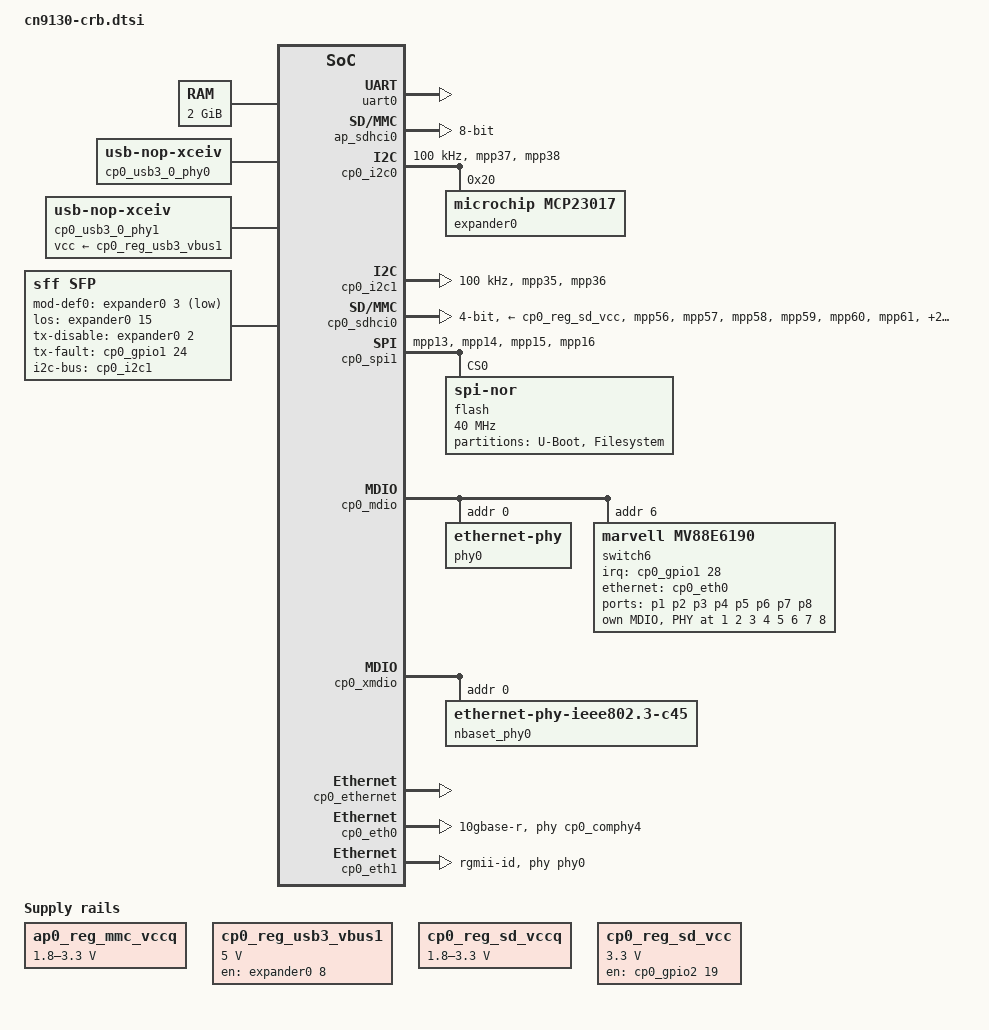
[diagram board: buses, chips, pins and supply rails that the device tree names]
// SPDX-License-Identifier: GPL-2.0+
/*
 * Copyright (C) 2020 Marvell International Ltd.
 */

#include "cn9130.dtsi" /* include SoC device tree */

#include <dt-bindings/gpio/gpio.h>

/ {
	chosen {
		stdout-path = "serial0:115200n8";
	};

	aliases {
		i2c0 = &cp0_i2c0;
		ethernet0 = &cp0_eth0;
		ethernet1 = &cp0_eth1;
		ethernet2 = &cp0_eth2;
		gpio1 = &cp0_gpio1;
		gpio2 = &cp0_gpio2;
	};

	memory@0 {
		device_type = "memory";
		reg = <0x0 0x0 0x0 0x80000000>;
	};

	ap0_reg_mmc_vccq: ap0_mmc_vccq@0 {
		compatible = "regulator-gpio";
		regulator-name = "ap0_mmc_vccq";
		regulator-min-microvolt = <1800000>;
		regulator-max-microvolt = <3300000>;
		gpios = <&expander0 5 GPIO_ACTIVE_HIGH>;
		states = <1800000 0x1
			  3300000 0x0>;
	};

	cp0_reg_usb3_vbus1: cp0_usb3_vbus@1 {
		compatible = "regulator-fixed";
		regulator-name = "cp0-xhci1-vbus";
		regulator-min-microvolt = <5000000>;
		regulator-max-microvolt = <5000000>;
		enable-active-high;
		gpio = <&expander0 8 GPIO_ACTIVE_HIGH>;
	};

	cp0_usb3_0_phy0: cp0_usb3_phy0 {
		compatible = "usb-nop-xceiv";
	};

	cp0_usb3_0_phy1: cp0_usb3_phy1 {
		compatible = "usb-nop-xceiv";
		vcc-supply = <&cp0_reg_usb3_vbus1>;
	};

	cp0_reg_sd_vccq: cp0_sd_vccq@0 {
		compatible = "regulator-gpio";
		regulator-name = "cp0_sd_vccq";
		regulator-min-microvolt = <1800000>;
		regulator-max-microvolt = <3300000>;
		gpios = <&cp0_gpio2 18 GPIO_ACTIVE_HIGH>;
		states = <1800000 0x1
			  3300000 0x0>;
	};

	cp0_reg_sd_vcc: cp0_sd_vcc@0 {
		compatible = "regulator-fixed";
		regulator-name = "cp0_sd_vcc";
		regulator-min-microvolt = <3300000>;
		regulator-max-microvolt = <3300000>;
		gpio = <&cp0_gpio2 19 GPIO_ACTIVE_HIGH>;
		enable-active-high;
		regulator-always-on;
	};

	sfp: sfp {
		compatible = "sff,sfp";
		i2c-bus = <&cp0_i2c1>;
		mod-def0-gpios = <&expander0 3 GPIO_ACTIVE_LOW>;
		los-gpios = <&expander0 15 GPIO_ACTIVE_HIGH>;
		tx-disable-gpios = <&expander0 2 GPIO_ACTIVE_HIGH>;
		tx-fault-gpios = <&cp0_gpio1 24 GPIO_ACTIVE_HIGH>;
		maximum-power-milliwatt = <3000>;
		status = "okay";
	};
};

&uart0 {
	status = "okay";
};

/* on-board eMMC U6 */
&ap_sdhci0 {
	pinctrl-names = "default";
	bus-width = <8>;
	status = "okay";
	mmc-ddr-1_8v;
	vqmmc-supply = <&ap0_reg_mmc_vccq>;
};

&cp0_syscon0 {
	cp0_pinctrl: pinctrl {
		compatible = "marvell,cp115-standalone-pinctrl";

		cp0_i2c0_pins: cp0-i2c-pins-0 {
			marvell,pins = "mpp37", "mpp38";
			marvell,function = "i2c0";
		};
		cp0_i2c1_pins: cp0-i2c-pins-1 {
			marvell,pins = "mpp35", "mpp36";
			marvell,function = "i2c1";
		};
		cp0_sdhci_cd_pins_crb: cp0-sdhci-cd-pins-crb {
			marvell,pins = "mpp55";
			marvell,function = "gpio";
		};
		cp0_sdhci_pins: cp0-sdhi-pins-0 {
			marvell,pins = "mpp56", "mpp57", "mpp58",
				       "mpp59", "mpp60", "mpp61";
			marvell,function = "sdio";
		};
		cp0_spi1_pins: cp0-spi-pins-1 {
			marvell,pins = "mpp13", "mpp14", "mpp15", "mpp16";
			marvell,function = "spi1";
		};
	};
};

&cp0_gpio1 {
	status = "okay";
};

&cp0_gpio2 {
	status = "okay";
};

&cp0_i2c0 {
	pinctrl-names = "default";
	pinctrl-0 = <&cp0_i2c0_pins>;
	status = "okay";
	clock-frequency = <100000>;
	expander0: mcp23x17@20 {
		compatible = "microchip,mcp23017";
		gpio-controller;
		#gpio-cells = <2>;
		reg = <0x20>;
		status = "okay";
	};
};

&cp0_i2c1 {
	pinctrl-names = "default";
	pinctrl-0 = <&cp0_i2c1_pins>;
	clock-frequency = <100000>;
	status = "okay";
};


&cp0_sdhci0 {
	pinctrl-names = "default";
	pinctrl-0 = <&cp0_sdhci_pins
		     &cp0_sdhci_cd_pins_crb>;
	bus-width = <4>;
	cd-gpios = <&cp0_gpio2 23 GPIO_ACTIVE_HIGH>;
	vqmmc-supply = <&cp0_reg_sd_vccq>;
	vmmc-supply = <&cp0_reg_sd_vcc>;
	status = "okay";
};

&cp0_spi1 {
	pinctrl-names = "default";
	pinctrl-0 = <&cp0_spi1_pins>;
	reg = <0x700680 0x50>,		/* control */
	      <0x2000000 0x1000000>;	/* CS0 */
	status = "okay";

	flash@0 {
		#address-cells = <0x1>;
		#size-cells = <0x1>;
		compatible = "jedec,spi-nor";
		reg = <0x0>;
		/* On-board MUX does not allow higher frequencies */
		spi-max-frequency = <40000000>;

		partitions {
			compatible = "fixed-partitions";
			#address-cells = <1>;
			#size-cells = <1>;

			partition@0 {
				label = "U-Boot";
				reg = <0x0 0x200000>;
			};

			partition@400000 {
				label = "Filesystem";
				reg = <0x200000 0xe00000>;
			};
		};
	};
};

&cp0_mdio {
	status = "okay";
	phy0: ethernet-phy@0 {
		reg = <0>;
	};

	switch6: switch0@6 {
		/* Actual device is MV88E6393X */
		compatible = "marvell,mv88e6190";
		#address-cells = <1>;
		#size-cells = <0>;
		reg = <6>;
		interrupt-parent = <&cp0_gpio1>;
		interrupts = <28 IRQ_TYPE_LEVEL_LOW>;
		interrupt-controller;
		#interrupt-cells = <2>;

		dsa,member = <0 0>;

		ports {
			#address-cells = <1>;
			#size-cells = <0>;

			port@1 {
				reg = <1>;
				label = "p1";
				phy-handle = <&switch0phy1>;
			};

			port@2 {
				reg = <2>;
				label = "p2";
				phy-handle = <&switch0phy2>;
			};

			port@3 {
				reg = <3>;
				label = "p3";
				phy-handle = <&switch0phy3>;
			};

			port@4 {
				reg = <4>;
				label = "p4";
				phy-handle = <&switch0phy4>;
			};

			port@5 {
				reg = <5>;
				label = "p5";
				phy-handle = <&switch0phy5>;
			};

			port@6 {
				reg = <6>;
				label = "p6";
				phy-handle = <&switch0phy6>;
			};

			port@7 {
				reg = <7>;
				label = "p7";
				phy-handle = <&switch0phy7>;
			};

			port@8 {
				reg = <8>;
				label = "p8";
				phy-handle = <&switch0phy8>;
			};

			port@9 {
				reg = <9>;
				label = "p9";
				phy-mode = "10gbase-r";
				sfp = <&sfp>;
				managed = "in-band-status";
			};

			port@a {
				reg = <10>;
				ethernet = <&cp0_eth0>;
				phy-mode = "10gbase-r";
				managed = "in-band-status";
			};

		};

		mdio {
			#address-cells = <1>;
			#size-cells = <0>;

			switch0phy1: switch0phy1@1 {
				reg = <0x1>;
			};

			switch0phy2: switch0phy2@2 {
				reg = <0x2>;
			};

			switch0phy3: switch0phy3@3 {
				reg = <0x3>;
			};

			switch0phy4: switch0phy4@4 {
				reg = <0x4>;
			};

			switch0phy5: switch0phy5@5 {
				reg = <0x5>;
			};

			switch0phy6: switch0phy6@6 {
				reg = <0x6>;
			};

			switch0phy7: switch0phy7@7 {
				reg = <0x7>;
			};

			switch0phy8: switch0phy8@8 {
				reg = <0x8>;
			};
		};
	};
};

&cp0_xmdio {
	status = "okay";
	nbaset_phy0: ethernet-phy@0 {
		compatible = "ethernet-phy-ieee802.3-c45";
		reg = <0>;
	};
};

&cp0_ethernet {
	status = "okay";
};

&cp0_eth0 {
	/* This port is connected to 88E6393X switch */
	status = "okay";
	phy-mode = "10gbase-r";
	managed = "in-band-status";
	phys = <&cp0_comphy4 0>;
};

&cp0_eth1 {
	status = "okay";
	phy = <&phy0>;
	phy-mode = "rgmii-id";
};

&cp0_eth2 {
	/* This port uses "2500base-t" phy-mode */
	status = "disabled";
	phy = <&nbaset_phy0>;
	phys = <&cp0_comphy5 2>;
};

